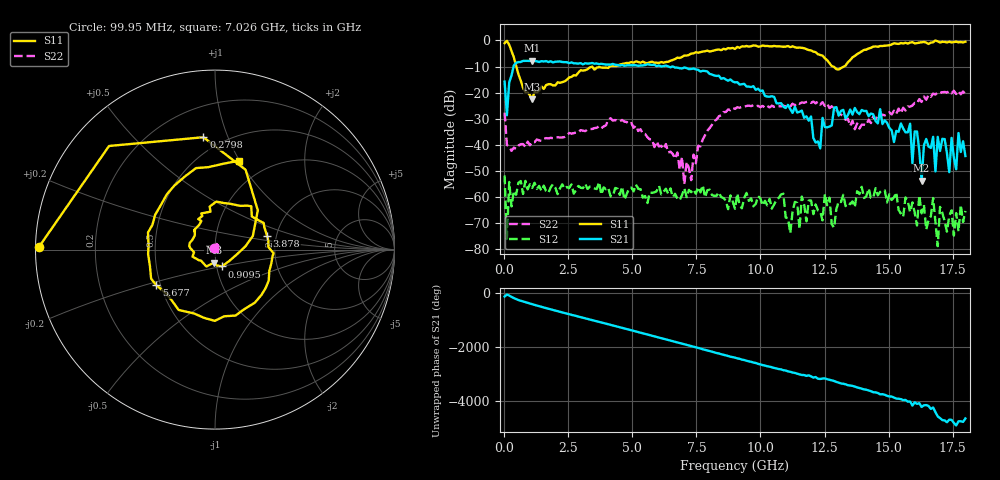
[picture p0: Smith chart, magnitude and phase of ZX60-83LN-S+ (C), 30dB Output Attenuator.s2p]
!Agilent Technologies,E8363B,SG43030126,A.07.50.67
!Agilent E8363B: A.07.50.67
!Date: Monday, August 08, 1988 04:29:27
!Correction: S11(Full 2 Port(1,2))
!S21(Full 2 Port(1,2))
!S12(Full 2 Port(1,2))
!S22(Full 2 Port(1,2))
!S2P File: Measurements: S11, S21, S12, S22:
# Hz S  dB  R 50
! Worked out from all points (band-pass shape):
!   201 points, 10 MHz to 18 GHz, reference 50 ohm
!   highest |S21| = -7.71 dB at 1.089 GHz (marker M1); lowest = -53.8 dB at 16.29 GHz (marker M2)
!   |S21| within 3 dB of the highest: 343.2 MHz to 6.887 GHz (6.544 GHz wide, 181 % of centre); 6.95 GHz to 7.139 GHz (188.9 MHz wide, 2.68 % of centre)
!   lowest |S11| = -22.6 dB at 1.089 GHz (marker M3), VSWR 1.16, Z = 48.8 - j7.21 ohm
!   |S11| at or under -10 dB: 465.3 MHz to 4.116 GHz (3.651 GHz wide, 159 % of centre); 12.83 GHz to 13.26 GHz (427.2 MHz wide, 3.27 % of centre)
!   |S22| runs from -55.2 to -19.3 dB; largest |S21 - S12| = 0.41
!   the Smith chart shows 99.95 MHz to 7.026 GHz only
!   S11 on the Smith chart (normalised r, x): 99.95 MHz: 0.01, +0.01; 279.9 MHz: 0.40, +0.82; 909.5 MHz: 1.06, -0.20; 3.878 GHz: 1.78, +0.30; 5.677 GHz: 0.47, -0.22; 7.026 GHz: 0.74, +1.00
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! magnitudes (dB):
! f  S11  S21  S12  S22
! 10 MHz  -1.1  -15.8  -51.8  -27.7
! 99.95 MHz  -0.2  -28.7  -76.1  -40.1
! 189.9 MHz  -1.7  -16.1  -54.2  -40.8
! 279.9 MHz  -4.0  -13.4  -63.6  -42.3
! 909.5 MHz  -19.9  -7.9  -57.1  -38.8
! 1.089 GHz  -22.6  -7.7  -56.5  -38.9
! 3.068 GHz  -11.6  -9.2  -56.6  -34.6
! 3.878 GHz  -10.5  -9.1  -56.3  -33.0
! 5.677 GHz  -8.4  -9.3  -58.3  -37.9
! 6.037 GHz  -8.6  -9.6  -55.7  -40.7
! 7.026 GHz  -5.8  -10.4  -56.7  -55.2
! 9.005 GHz  -3.3  -16.1  -64.5  -26.2
! 12.06 GHz  -4.3  -37.4  -66.6  -23.4
! 15.03 GHz  -1.9  -33.6  -59.0  -27.5
! 15.84 GHz  -0.8  -31.9  -65.8  -25.4
! 15.93 GHz  -0.7  -47.1  -62.1  -24.9
! 16.11 GHz  -1.0  -34.9  -70.9  -24.1
! 16.29 GHz  -0.7  -53.8  -66.2  -23.6
! 16.47 GHz  -0.9  -37.8  -72.5  -22.7
! 16.83 GHz  0.0  -50.2  -69.7  -20.7
! 16.92 GHz  -0.3  -37.0  -78.8  -19.9
! 18 GHz  -0.5  -44.3  -65.3  -20.7
